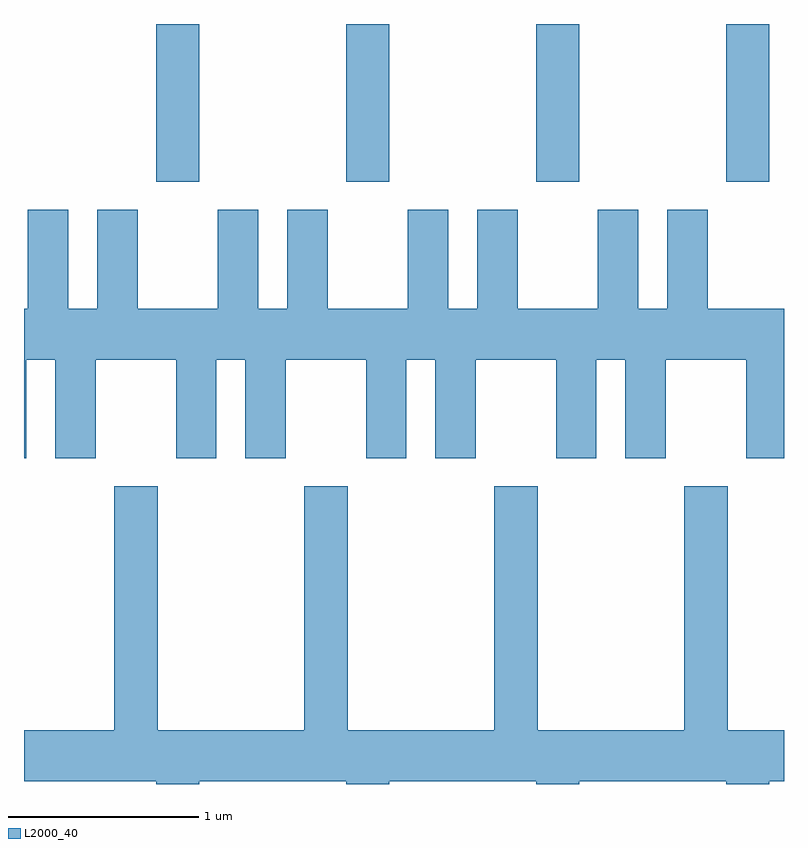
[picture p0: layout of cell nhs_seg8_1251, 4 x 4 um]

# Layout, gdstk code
import gdstk
lib = gdstk.Library(unit=1e-6, precision=1e-09)
def R(c, l, rs):  # rectangles x0, y0, x1, y1
    for r in rs: c.add(gdstk.rectangle(r[:2], r[2:], *l))
def A(c, l, x, y, w, h, nx, ny, dx, dy):  # array of equal rectangles
    R(c, l, [(x+i*dx, y+j*dy, x+i*dx+w, y+j*dy+h) for i in range(nx) for j in range(ny)])
def P(c, l, *ps):  # polygons
    for p in ps: c.add(gdstk.Polygon(p, *l))
L2000_40 = (2000, 40)

nhs_seg8_1251 = lib.new_cell('nhs_seg8_1251')
A(nhs_seg8_1251, L2000_40, 222.306, 1899.511, 0.228, 0.831, 4, 1, 1, 0)
P(nhs_seg8_1251, L2000_40, [(225.411,1898.056),(225.611,1898.056),(225.611,1898.844),(225.209,1898.844),(225.209,1899.364),(224.996,1899.364),(224.996,1898.844),(224.844,1898.844),(224.844,1899.364),(224.631,1899.364),(224.631,1898.844),(224.209,1898.844),(224.209,1899.364),(223.996,1899.364),(223.996,1898.844),(223.844,1898.844),(223.844,1899.364),(223.631,1899.364),(223.631,1898.844),(223.209,1898.844),(223.209,1899.364),(222.996,1899.364),(222.996,1898.844),(222.844,1898.844),(222.844,1899.364),(222.631,1899.364),(222.631,1898.844),(222.209,1898.844),(222.209,1899.364),(221.996,1899.364),(221.996,1898.844),(221.844,1898.844),(221.844,1899.364),(221.631,1899.364),(221.631,1898.844),(221.611,1898.844),(221.611,1898.056),(221.624,1898.056),(221.624,1898.576),(221.776,1898.576),(221.776,1898.056),(221.989,1898.056),(221.989,1898.576),(222.411,1898.576),(222.411,1898.056),(222.624,1898.056),(222.624,1898.576),(222.776,1898.576),(222.776,1898.056),(222.989,1898.056),(222.989,1898.576),(223.411,1898.576),(223.411,1898.056),(223.624,1898.056),(223.624,1898.576),(223.776,1898.576),(223.776,1898.056),(223.989,1898.056),(223.989,1898.576),(224.411,1898.576),(224.411,1898.056),(224.624,1898.056),(224.624,1898.576),(224.776,1898.576),(224.776,1898.056),(224.989,1898.056),(224.989,1898.576),(225.411,1898.576)],
  [(222.534,1896.356),(223.306,1896.356),(223.306,1896.342),(223.534,1896.342),(223.534,1896.356),(224.306,1896.356),(224.306,1896.342),(224.534,1896.342),(224.534,1896.356),(225.306,1896.356),(225.306,1896.342),(225.534,1896.342),(225.534,1896.356),(225.611,1896.356),(225.611,1896.624),(225.314,1896.624),(225.314,1897.909),(225.086,1897.909),(225.086,1896.624),(224.314,1896.624),(224.314,1897.909),(224.086,1897.909),(224.086,1896.624),(223.314,1896.624),(223.314,1897.909),(223.086,1897.909),(223.086,1896.624),(222.314,1896.624),(222.314,1897.909),(222.086,1897.909),(222.086,1896.624),(221.611,1896.624),(221.611,1896.356),(222.306,1896.356),(222.306,1896.342),(222.534,1896.342)])

lib.write_gds('nhs_seg8_1251.gds')
